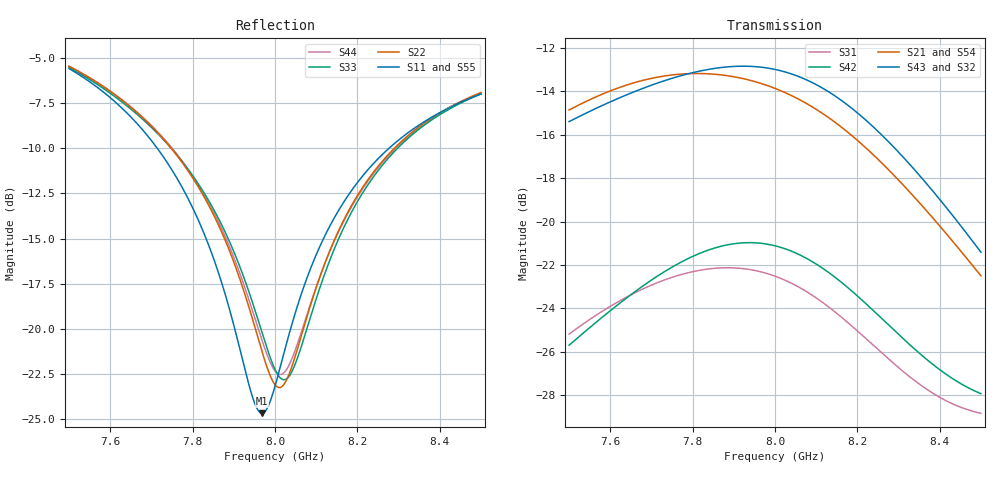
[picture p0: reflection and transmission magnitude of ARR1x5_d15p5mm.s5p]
! Touchstone file exported from HFSS 2025.1.0
!  File:  C:/Users/user/Documents/Ansoft/TFG_UWB-MIMO-Array.aedt
!  Generated:  06:37:34 PM Nov 20, 2026
!  Design:  ARR1x5_P01_MS2_dparam
!  Project:  TFG_UWB-MIMO-Array
!  Setup:  Setup_ch9
!  Solution:  Sweep_7p5_8p5
! Variables:
!  arr_d = 15.5mm
!  board_m = 13mm
!  board_x = 88mm
!  board_y = 26mm
!  cu_t = 0.035mm
!  line_w = 3.92mm
!  pad_xy = 22mm
!  pad_zn = 25mm
!  pad_zp = 33mm
!  patch_L = 7.322mm
!  patch_W = 11.421266mm
!  sub_h = 2.07mm
!  tr_l = 7.1mm
!  tr_w = 0.8mm
# GHz S MA R 50.000000
! Terminal data exported
! Port[1] = P1
! Port[2] = P2
! Port[3] = P3
! Port[4] = P4
! Port[5] = P5
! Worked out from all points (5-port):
!   1001 points, 7.5 GHz to 8.5 GHz, reference 50 ohm
!   strongest paths, dB at 7.5 GHz, 7.75 GHz, 8 GHz, 8.25 GHz, 8.5 GHz:
!     S43: -15.4, -13.4, -13.0, -15.8, -21.4
!     S32: -15.4, -13.4, -13.0, -15.8, -21.3
!     S21: -14.9, -13.2, -13.9, -17.1, -22.5
!     S54: -14.9, -13.3, -13.9, -17.2, -22.6
!     S42: -25.7, -22.1, -21.1, -24.3, -27.9
!     S31: -25.2, -22.6, -22.5, -25.9, -28.8
!   lowest |S11| = -24.7 dB at 7.969 GHz (marker M1), VSWR 1.12, Z = 55.7 + j2.28 ohm
!   |S11| at or under -10 dB: 7.714 GHz to 8.277 GHz (563.5 MHz wide, 7.05 % of centre)
